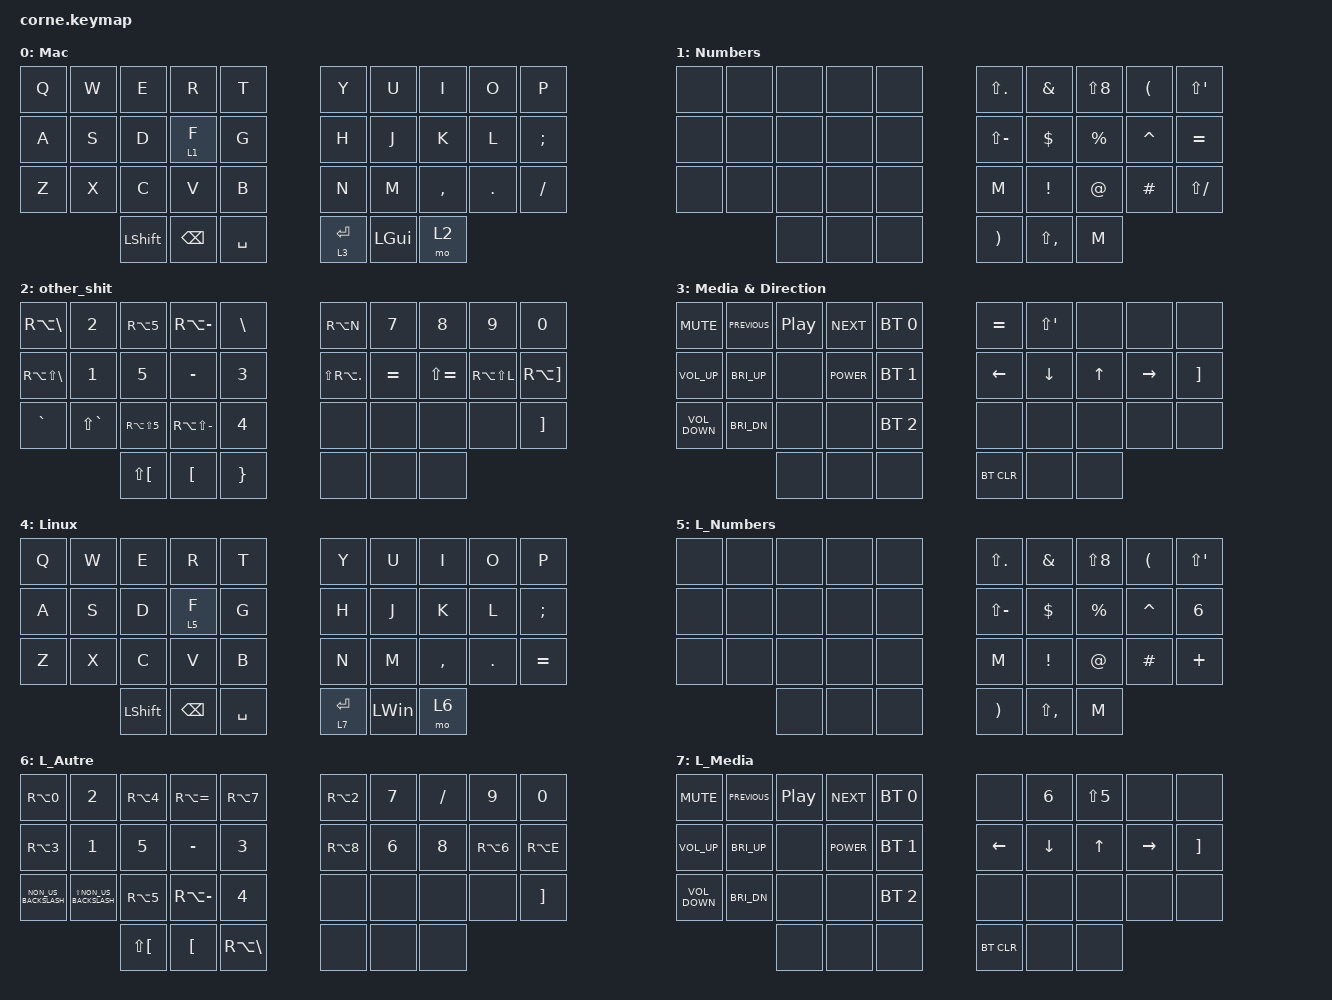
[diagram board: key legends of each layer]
/*
 * Copyright (c) 2020 The ZMK Contributors
 *
 * SPDX-License-Identifier: MIT
 * 
 */

#include <behaviors.dtsi>
#include <dt-bindings/zmk/keys.h>
#include <dt-bindings/zmk/bt.h>


#define AS(keycode) &as LS(keycode) keycode

/ {
    chosen {
        zmk,physical-layout = &foostan_corne_5col_layout;
    };

    combos {
        compatible = "zmk,combos";

        esc {
            bindings = <&kp ESC>;
            key-positions = <0 1>;
        };

        tab {
            bindings = <&kp TAB>;
            key-positions = <10 11>;
        };
        
        ctrl {
            bindings = <&kp LCTRL>;
            key-positions = <20 21>;
        };

        ctrlleft {
            bindings = <&kp LCTRL>;
            key-positions = <28 29>;
        };

        linux_or_mac {
            bindings = <&tog 4>;
            key-positions = <0 4 5 9>; 
        };

    };

    behaviors {
        as: auto_shift {
            compatible = "zmk,behavior-hold-tap";
            #binding-cells = <2>;
            tapping_term_ms = <200>;
            quick_tap_ms = <0>;
            flavor = "tap-preferred";
            bindings = <&kp>, <&kp>;
        };
    };
        keymap {
                compatible = "zmk,keymap";

                default_layer {
// ---------------------------------------------------------------------
// |  A  |  Z  |  E  |  R  |  T  |     |  Y  |  U   |  I   |   O   | P |
// |  Q  |  S  |  D  |  F  |  G  |     |  H  |  J   |  K   |   L   | M | 
// |  W  |  X  |  C  |  V  |  B  |     |  N  |  ,   |  ;   |   :   | = |
//             | SIFT| BSPC| SPC |     | ENT | COM  | mo2  |
                        display-name = "Mac";
                        bindings = <
   &kp Q  &kp W &kp E      &kp R      &kp T           &kp Y     &kp U    &kp I     &kp O     &kp P
   &kp A  &kp S &kp D      &lt 1 F    &kp G           &kp H     &kp J    &kp K     &kp L     &kp SEMI 
   &kp Z  &kp X &kp C      &kp V      &kp B           &kp N     &kp M    &kp COMMA &kp DOT   &kp FSLH
                &kp LSHIFT &kp BSPC   &kp SPACE       &lt 3 RET &kp LGUI &mo 2
                        >;
                };

                lower_layer {
// ---------------------------------------------------------------------
// |   |    |    |     |     |      |  /  |  7  |  8  |  9  |  %  
// |   |    |    |     |     |      |  °  |  4  |  5  |  6  |  -  
// |   |    |    |     |     |      |  ,  |  1  |  2  |  3  |  +  
//               |     |     |      |  0  |  .  |  ,  |
                        display-name = "Numbers";
                        bindings = <
   &none   &none   &none    &none   &none      &kp LS(DOT)   &kp AMPS  &kp LS(N8)  &kp LPAR    &kp LS(APOS) 
   &none   &none   &none    &none   &none      &kp LS(MINUS) &kp DLLR  &kp PRCNT   &kp CARET   &kp EQUAL
   &none   &none   &none    &none   &none      &kp M         &kp EXCL  &kp AT      &kp HASH    &kp LS(FSLH)
                   &none    &none   &none      &kp RPAR      &kp LS(COMMA)    &kp M 
                        >;
                };

                raise_layer {
// --------------------------------------------------------------------
// |  @ |  é |  {  |  }  |  ` |     |  ~ |   è |  ! |  ç  |   à  |
// |  # |  & |  (  |  )  |  " |     |  \ |  -  |  _ |  |  |   €  |
// |  < |  > |  [  |  ]  |  ' |     |    |     |    |     |   $  |
//           |  ¨  |  ^  |  * |     |    |     |    |
                        display-name = "other_shit";
                        bindings = <

   &kp RA(BSLH)      &kp N2         &kp RA(N5)      &kp RA(MINUS)      &kp BSLH       &kp RA(N)        &kp N7        &kp N8         &kp N9        &kp N0
   &kp RA(LS(BSLH))  &kp N1         &kp N5          &kp MINUS          &kp N3         &kp LS(RA(DOT))  &kp EQUAL     &kp LS(EQUAL)  &kp RA(LS(L)) &kp RA(RBKT)
   &kp GRAVE         &kp LS(GRAVE)  &kp RA(LS(N5))  &kp RA(LS(MINUS))  &kp N4         &none            &none         &none          &none         &kp RBKT
                                    &kp LS(LBKT)    &kp LBKT           &kp RBRC       &none            &none         &none
                        >;
                }; 

                motion {
// --------------------------------------------------------------------
// | 🔇  |  ⏪️ |  ⏯️  |  ⏩️ | BLT 0|     |    |  -  |  %  |     |      |
// | 🔊  |  ☀  |      |  🔒 | BLT 1|     |LFT | DWN |  UP | RGT |  $   |
// | 🔈  |  🌑 |      |     | BLT 2|     |    |     |     |     |      |
//             |      |     | BLT R|     |    |     |     |     |
                        display-name = "Media & Direction";
                        bindings = <

   &kp C_MUTE          &kp C_PREVIOUS        &kp C_PLAY_PAUSE    &kp C_NEXT    &bt BT_SEL 0       &kp EQUAL &kp LS(APOS)  &none   &none      &none
   &kp C_VOLUME_UP     &kp C_BRI_UP          &none               &kp C_POWER   &bt BT_SEL 1       &kp LEFT  &kp DOWN      &kp UP  &kp RIGHT  &kp RBKT
   &kp C_VOLUME_DOWN   &kp C_BRI_DN          &none               &none         &bt BT_SEL 2       &none     &none         &none   &none      &none
                       &none                 &none               &none         &bt BT_CLR         &none     &none
                        >;
                }; 

                linux_default_layer {
// ---------------------------------------------------------------------
// |  A  |  Z  |  E  |  R  |  T  |     |  Y  |  U   |  I   |   O   | P |
// |  Q  |  S  |  D  |  F  |  G  |     |  H  |  J   |  K   |   L   | M | 
// |  W  |  X  |  C  |  V  |  B  |     |  N  |  ,   |  ;   |   :   | = |
//             | SIFT| BSPC| SPC |     | ENT | WIN  | mo6  |
                        display-name = "Linux";
                        bindings = <
   &kp Q  &kp W &kp E      &kp R    &kp T           &kp Y     &kp U      &kp I     &kp O     &kp P
   &kp A  &kp S &kp D      &lt 5 F  &kp G           &kp H     &kp J      &kp K     &kp L     &kp SEMI 
   &kp Z  &kp X &kp C      &kp V    &kp B           &kp N     &kp M      &kp COMMA &kp DOT   &kp EQUAL
                &kp LSHIFT &kp BSPC &kp SPACE       &lt 7 RET &kp LWIN   &mo 6
                        >;
                };

                linux_lower_layer { 
// ---------------------------------------------------------------------
// |   |    |    |     |     |      |  /  |  7  |  8  |  9  |  %  
// |   |    |    |     |     |      |  °  |  4  |  5  |  6  |  -  
// |   |    |    |     |     |      |  ,  |  1  |  2  |  3  |  +  
//               |     |     |      |  0  |  .  |  ,  |
                        display-name = "L_Numbers";
                        bindings = < 
   &none   &none   &none    &none   &none      &kp LS(DOT)   &kp AMPS       &kp LS(N8)  &kp LPAR    &kp LS(APOS) 
   &none   &none   &none    &none   &none      &kp LS(MINUS) &kp DLLR       &kp PRCNT   &kp CARET   &kp N6
   &none   &none   &none    &none   &none      &kp M         &kp EXCL       &kp AT      &kp HASH    &kp PLUS
                   &none    &none   &none      &kp RPAR      &kp LS(COMMA)  &kp M 
                        >;
                };

                linux_raise_layer {
// --------------------------------------------------------------------
// |  @ |  é |  {  |  }  |  ` |     |  ~ |   è |  ! |  ç  |   à  |
// |  # |  & |  (  |  )  |  " |     |  \ |  -  |  _ |  |  |   €  |
// |  < |  > |  [  |  ]  |  ' |     |    |     |    |     |   $  |
//           |  ¨  |  ^  |  * |     |    |     |    |
                        display-name = "L_Autre";
                        bindings = <
   &kp RA(N0)             &kp N2                       &kp RA(N4)      &kp RA(EQUAL)        &kp RA(N7)           &kp RA(N2)    &kp N7        &kp SLASH      &kp N9          &kp N0
   &kp RA(N3)             &kp N1                       &kp N5          &kp MINUS            &kp N3               &kp RA(N8)    &kp N6        &kp N8         &kp RA(N6)      &kp RA(E)
   &kp NON_US_BACKSLASH   &kp LS(NON_US_BACKSLASH)     &kp RA(N5)      &kp RA(MINUS)        &kp N4               &none         &none         &none          &none           &kp RBKT
                                                       &kp LS(LBKT)    &kp LBKT             &kp RA(BSLH)         &none         &none         &none
                        >;
                }; 

                linux_motion {
// --------------------------------------------------------------------
// | 🔇  |  ⏪️ |  ⏯️ |  ⏩️ | BLT 0|    |    |  -  |  %  |     |      |
// | 🔊  |  ☀  |  👾 |  🔒 | BLT 1|    |LFT | DWN |  UP | RGT |  $   |
// | 🔊  |  🌑 |     |     | BLT 2|    |    |     |     |     |      |
//             |     |     | BLT R|    |    |     |     |     |
                        display-name = "L_Media";
                        bindings = <
   &kp C_MUTE          &kp C_PREVIOUS   &kp C_PLAY_PAUSE    &kp C_NEXT            &bt BT_SEL 0      &none     &kp N6        &kp LS(N5) &none      &none
   &kp C_VOLUME_UP     &kp C_BRI_UP     &none               &kp C_POWER           &bt BT_SEL 1      &kp LEFT  &kp DOWN      &kp UP     &kp RIGHT  &kp RBKT
   &kp C_VOLUME_DOWN   &kp C_BRI_DN     &none               &none                 &bt BT_SEL 2      &none     &none         &none      &none      &none
                       &none            &none               &none                 &bt BT_CLR        &none     &none
                        >;
                }; 

         };
 };
